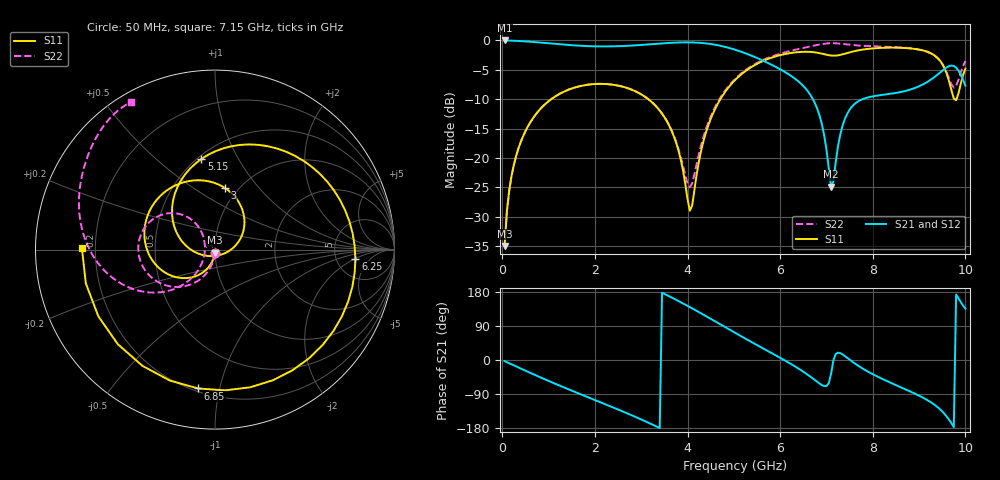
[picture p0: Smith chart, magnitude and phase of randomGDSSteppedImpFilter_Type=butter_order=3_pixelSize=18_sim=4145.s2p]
! freq	dB(S11)	phase(S11)	dB(S12)	phase(S12)
!  dB(S21)	phase(S21)	dB(S22)	phase(S22)
!S-par simulation data
#  GHz  S  DB  R 50
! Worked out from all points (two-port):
!   200 points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, 50 MHz to 10 GHz, reference 50 ohm
!   highest |S21| = -0.01 dB at 50 MHz (marker M1); lowest = -24.9 dB at 7.1 GHz (marker M2)
!   |S21| within 3 dB of the highest: start of sweep to 5.505 GHz
!   lowest |S11| = -35.0 dB at 50 MHz (marker M3), VSWR 1.04, Z = 49.9 - j1.77 ohm
!   |S11| at or under -10 dB: start of sweep to 1.057 GHz; 3.153 GHz to 4.709 GHz (1.556 GHz wide, 39.6 % of centre); 9.769476 GHz to 9.807629 GHz (38.15 MHz wide, 0.39 % of centre)
!   |S22| runs from -35.0 to -0.5 dB; largest |S21 - S12| = 0
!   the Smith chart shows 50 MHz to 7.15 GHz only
!   S11 on the Smith chart (normalised r, x): 50 MHz: 1.00, -0.04; 3 GHz: 0.87, +0.68; 5.15 GHz: 0.52, +0.72; 6.25 GHz: 7.68, -2.08; 6.85 GHz: 0.22, -0.86; 7.15 GHz: 0.15, +0.01
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0.05  -34.99 -93.3  -0.01 -2.9  -0.01 -2.9  -35.01 -92.3
0.2  -23.05 -103.5  -0.04 -11.4  -0.04 -11.4  -23.03 -100.0
0.5  -15.43 -123.1  -0.16 -28.2  -0.16 -28.2  -15.42 -114.3
1.75  -7.66 159.9  -0.93 -93.3  -0.93 -93.3  -7.65 -167.6
3  -9.17 80.9  -0.77 -156.9  -0.77 -156.9  -9.17 145.5
3.4  -11.94 50.9  -0.53 -179.5  -0.53 -179.5  -11.93 131.8
4.05  -28.96 -72.9  -0.33 139.6  -0.33 139.6  -24.98 177.9
4.45  -14.41 165.8  -0.55 112.2  -0.55 112.2  -13.92 -129.3
5.05  -6.55 107.5  -1.64 70.1  -1.64 70.1  -6.38 -151.4
5.15  -5.84 98.5  -1.90 63.2  -1.90 63.2  -5.67 -155.9
5.7  -3.26 49.5  -3.70 26.0  -3.70 26.0  -3.09 179.6
6.25  -2.12 -3.8  -6.11 -11.7  -6.11 -11.7  -1.73 157.2
6.7  -1.98 -66.1  -9.89 -48.3  -9.89 -48.3  -0.93 139.5
6.85  -2.16 -97.0  -12.77 -62.1  -12.77 -62.1  -0.70 133.2
7.1  -2.57 -165.4  -24.88 -36.2  -24.88 -36.2  -0.47 121.8
7.15  -2.60 179.3  -23.98 -0.6  -23.98 -0.6  -0.47 119.4
7.5  -2.04 87.9  -11.78 1.0  -11.78 1.0  -0.75 105.1
7.85  -1.48 35.5  -9.79 -27.5  -9.79 -27.5  -0.94 93.0
8.35  -1.23 -8.2  -9.12 -58.0  -9.12 -58.0  -1.08 75.0
9.1  -1.73 -54.2  -7.42 -100.4  -7.42 -100.4  -1.76 43.2
9.6  -5.73 -85.3  -4.56 -149.7  -4.56 -149.7  -5.54 20.2
10  -4.79 -39.7  -7.70 135.9  -7.70 135.9  -3.49 51.2
